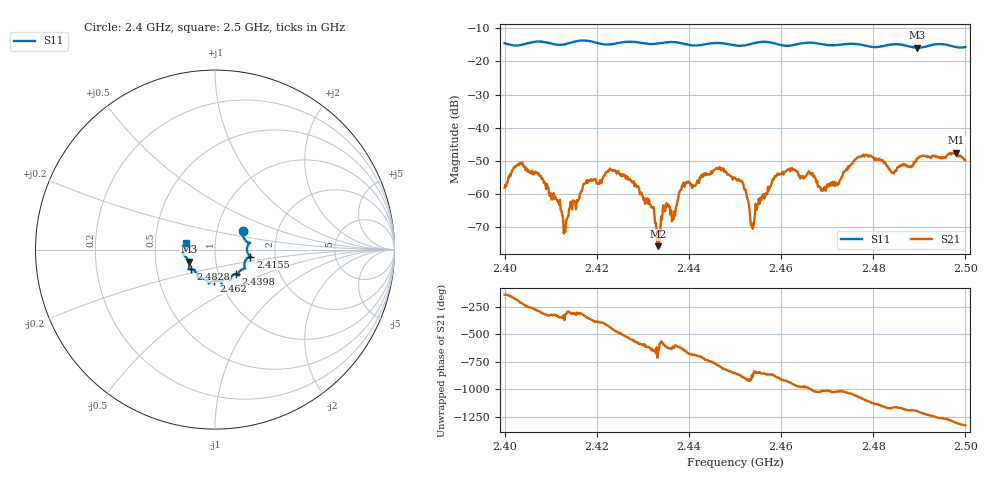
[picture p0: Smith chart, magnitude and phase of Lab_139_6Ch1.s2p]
# Hz S RI R 50
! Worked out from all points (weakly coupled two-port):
!   601 points, 2.4 GHz to 2.5 GHz, reference 50 ohm
!   highest |S21| = -47.48 dB at 2.498 GHz (marker M1); lowest = -75.7 dB at 2.4333 GHz (marker M2)
!   lowest |S11| = -15.9 dB at 2.4895 GHz (marker M3), VSWR 1.38, Z = 37 - j5.05 ohm
!   |S11| at or under -10 dB: start of sweep to end of sweep
!   S12 and S22 are empty: the file has one direction only
!   S11 on the Smith chart (normalised r, x): 2.4 GHz: 1.33, +0.29; 2.4155 GHz: 1.49, -0.12; 2.4398 GHz: 1.21, -0.34; 2.462 GHz: 0.93, -0.33; 2.4828 GHz: 0.74, -0.17; 2.5 GHz: 0.72, +0.06
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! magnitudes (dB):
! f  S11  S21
! 2.4 GHz  -14.5  -58.1
! 2.4035 GHz  -15.0  -50.6
! 2.413 GHz  -14.9  -70.6
! 2.4155 GHz  -13.9  -64.5
! 2.4167 GHz  -13.7  -59.0
! 2.4262 GHz  -14.1  -54.4
! 2.4318 GHz  -14.8  -63.9
! 2.4333 GHz  -14.6  -75.7
! 2.4348 GHz  -14.3  -65.2
! 2.4365 GHz  -14.2  -67.1
! 2.4398 GHz  -15.0  -56.2
! 2.45 GHz  -15.2  -55.1
! 2.4538 GHz  -14.6  -70.4
! 2.462 GHz  -15.2  -53.1
! 2.4667 GHz  -14.4  -53.8
! 2.4692 GHz  -14.9  -58.4
! 2.4773 GHz  -15.0  -48.5
! 2.4828 GHz  -15.2  -51.2
! 2.4833 GHz  -15.0  -52.2
! 2.4895 GHz  -15.9  -49.2
! 2.498 GHz  -15.7  -47.5
! 2.5 GHz  -15.7  -49.8
